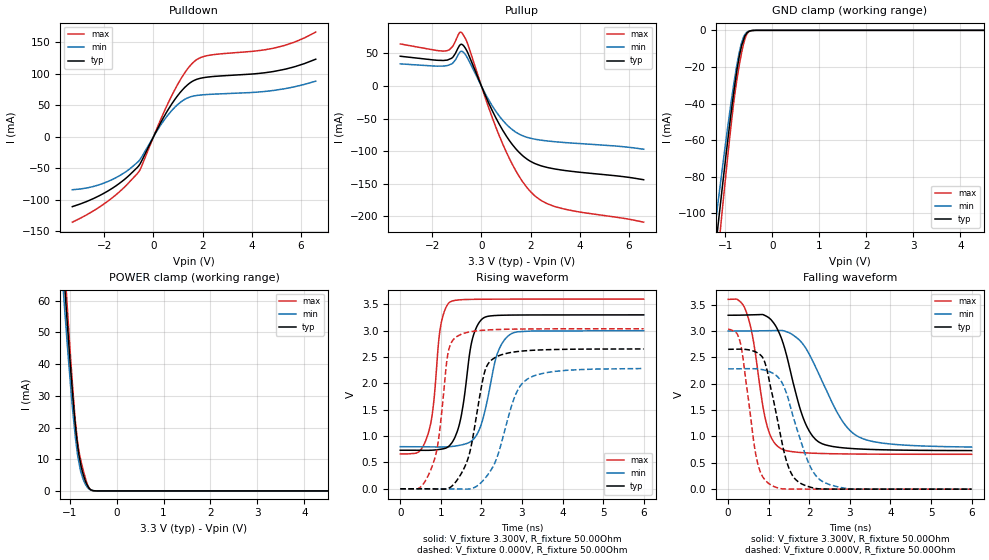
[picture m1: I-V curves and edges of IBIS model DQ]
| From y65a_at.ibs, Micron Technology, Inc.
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|   MODEL DQ
[Model]   DQ
Model_type   I/O
Vinl = 800.000mV
Vinh = 2.000V
Vmeas = 1.500V
Cref = 50.000pF
|   typ   min   max
C_comp   3.872pF   3.722pF   4.022pF
[Voltage Range]   3.300V   3.000V   3.600V
| Junction Temperature (Case temp is 35C typ, 105C min, -40C max)
[Temperature Range]   50.0   110.0   -40.0
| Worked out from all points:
|   slope of the pulldown table from 0 to 0.495 V, typ, clamps not added: 13.6 ohm
|   slope of the pullup table from 0 to 0.495 V, typ, clamps not added: 11.8 ohm
|   GND clamp passes 1 mA (typ) near -0.52 V on its own axis
|   POWER clamp passes 1 mA (typ) near -0.59 V on its own axis
|   falling waveform, V_fixture 3.300V, R_fixture 50.00Ohm: 20-80 % time 559ps typ, 865ps min, 371ps max; typ from 3.3 V to 0.732 V
|   rising waveform, V_fixture 3.300V, R_fixture 50.00Ohm: 20-80 % time 297ps typ, 388ps min, 227ps max; typ from 0.732 V to 3.3 V
|   rising waveform, V_fixture 0.000V, R_fixture 50.00Ohm: 20-80 % time 398ps typ, 558ps min, 288ps max; typ from 0 V to 2.65 V
|   falling waveform, V_fixture 0.000V, R_fixture 50.00Ohm: 20-80 % time 442ps typ, 571ps min, 319ps max; typ from 2.65 V to 0 V
[Pulldown]
|   Voltage   I(typ)   I(min)   I(max)
-3.3V     -110.6mA   -83.86mA   -135.3mA
-1.825V   -85.17mA   -70.29mA   -101.1mA
-1.2V     -68.19mA   -57.3mA    -80.46mA
-600mV    -45.98mA   -38.5mA    -55.46mA
240mV     18.47mA    15.41mA    22.57mA
685mV     48.55mA    39.06mA    60.69mA
1.23V     76.56mA    58.36mA    98.94mA
1.71V     90.37mA    65.2mA     121mA
2.37V     95.37mA    67.47mA    129.9mA
4.925V    103.8mA    73.73mA    140.8mA
5.78V     111.5mA    79.67mA    150.8mA
6.6V      123mA      88.22mA    166mA
[GND Clamp]
|   Voltage   I(typ)   I(min)   I(max)
-3.3V     -648.2mA   -571.3mA   -739.3mA
-1.215V   -120.2mA   -106.3mA   -137.6mA
-1.16V    -107.4mA   -94.81mA   -122.8mA
-1.145V   -103.9mA   -91.76mA   -118.9mA
-1.065V   -85.64mA   -75.45mA   -97.95mA
-875mV    -44.44mA   -38.7mA    -51.05mA
-750mV    -21.03mA   -18.15mA   -26.17mA
-665mV    -9.64mA    -7.609mA   -13.63mA
-615mV    -5.34mA    -3.855mA   -7.569mA
-565mV    -2.374mA   -1.644mA   -3.287mA
-500mV    -616.6uA   -383.3uA   -770.5uA
6.6V      0A         0A         0A
[Pullup]
|   Voltage   I(typ)   I(min)   I(max)
-3.3V     45.67mA    33.97mA    64.57mA
-1.41V    39.69mA    31.21mA    54.02mA
-1.145V   44.94mA    35.92mA    62.13mA
-825mV    63.97mA    53.32mA    82.64mA
-565mV    51.92mA    42.85mA    65.57mA
220mV     -19.59mA   -16.07mA   -24.92mA
745mV     -59.89mA   -46.98mA   -78.02mA
1.385V    -95.73mA   -70.5mA    -129.1mA
1.995V    -115.6mA   -80.21mA   -162.1mA
2.445V    -122.8mA   -83.28mA   -176.2mA
3.085V    -128mA     -85.89mA   -186.2mA
6.6V      -143.9mA   -97.08mA   -209.1mA
[POWER Clamp]
|   Voltage   I(typ)   I(min)   I(max)
-3.3V     589.7mA    555.4mA    639.3mA
-1.14V    72.67mA    64.62mA    79.89mA
-1.06V    55.39mA    48.53mA    60.79mA
-985mV    39.98mA    34.49mA    43.65mA
-935mV    30.66mA    25.75mA    32.99mA
-880mV    21.34mA    17.49mA    22.65mA
-830mV    14.6mA     11.5mA     15.51mA
-770mV    8.984mA    6.607mA    10.36mA
-705mV    4.955mA    3.484mA    6.358mA
-615mV    1.61mA     1.053mA    1.79mA
-550mV    403.4uA    281.8uA    357.5uA
6.6V      0A         0A         0A
[Ramp]
R_load = 50.00Ohm
|   typ   min   max
dV/dt_r   1.592V/397.527ps   1.369V/556.201ps   1.822V/286.397ps
dV/dt_f   1.541V/558.831ps   1.321V/864.443ps   1.763V/370.354ps
[Falling Waveform]
V_fixture = 3.300V
V_fixture_min = 3.000V
V_fixture_max = 3.600V
R_fixture = 50.00Ohm
|   Time   V(typ)   V(min)   V(max)
0s        3.3V       3V         3.6V
450ps     3.304V     3V         3.356V
620ps     3.308V     3.001V     2.822V
940ps     3.282V     3.005V     1.258V
1.28ns    2.926V     3.011V     779.1mV
1.83ns    1.393V     2.765V     692.9mV
2.25ns    887.2mV    2.16V      678.1mV
2.77ns    789.3mV    1.346V     669.7mV
3.24ns    762.3mV    983.7mV    665.9mV
6ns       731.8mV    798.9mV    661.1mV
[Rising Waveform]
V_fixture = 3.300V
V_fixture_min = 3.000V
V_fixture_max = 3.600V
R_fixture = 50.00Ohm
|   Time   V(typ)   V(min)   V(max)
0s        731.8mV    798.9mV    661.1mV
680ps     729.9mV    796.2mV    1.026V
990ps     749.7mV    793.6mV    3.061V
1.22ns    823.7mV    799.6mV    3.541V
1.49ns    1.331V     829.5mV    3.587V
1.78ns    2.845V     922.4mV    3.595V
2.06ns    3.245V     1.392V     3.597V
2.4ns     3.29V      2.58V      3.598V
2.75ns    3.296V     2.947V     3.599V
6ns       3.3V       3V         3.6V
[Rising Waveform]
V_fixture = 0.000V
V_fixture_min = 0.000V
V_fixture_max = 0.000V
R_fixture = 50.00Ohm
|   Time   V(typ)   V(min)   V(max)
0s        25.07uV    45.09uV    11.48uV
790ps     -2.56mV    232.9uV    434.1mV
940ps     -4.468mV   7.141uV    911mV
1.18ns    6.61mV     -1.638mV   2.583V
1.39ns    152mV      -3.407mV   2.886V
1.68ns    597.1mV    -4.642mV   2.972V
2.06ns    2.16V      173.1mV    3.009V
2.29ns    2.467V     426.1mV    3.019V
3.13ns    2.621V     2.08V      3.033V
6ns       2.653V     2.282V     3.036V
[Falling Waveform]
V_fixture = 0.000V
V_fixture_min = 0.000V
V_fixture_max = 0.000V
R_fixture = 50.00Ohm
|   Time   V(typ)   V(min)   V(max)
0s        2.653V     2.282V     3.036V
290ps     2.656V     2.284V     2.806V
700ps     2.595V     2.282V     585.9mV
880ps     2.453V     2.262V     202.8mV
1.03ns    1.992V     2.225V     91.12mV
1.44ns    527.7mV    1.816V     2.998mV
1.79ns    109mV      913.8mV    1.071mV
2.11ns    21.36mV    311.3mV    634.3uV
2.5ns     1.862mV    86.46mV    387.5uV
6ns       25.07uV    45.09uV    11.48uV
